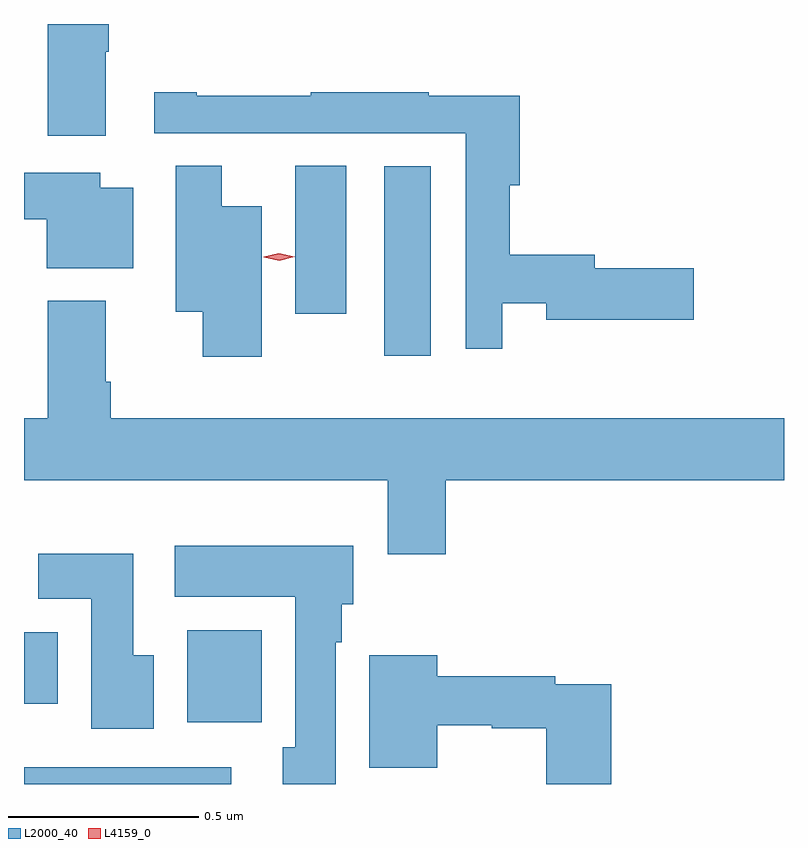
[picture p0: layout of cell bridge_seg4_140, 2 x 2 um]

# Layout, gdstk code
import gdstk
lib = gdstk.Library(unit=1e-6, precision=1e-09)
def R(c, l, rs):  # rectangles x0, y0, x1, y1
    for r in rs: c.add(gdstk.rectangle(r[:2], r[2:], *l))
def P(c, l, *ps):  # polygons
    for p in ps: c.add(gdstk.Polygon(p, *l))
L2000_40 = (2000, 40)
L4159_0 = (4159, 0)

bridge_seg4_140 = lib.new_cell('bridge_seg4_140')
R(bridge_seg4_140, L2000_40, [(126.452,773.377,126.997,773.421), (126.881,773.54,127.078,773.782), (126.452,773.588,126.541,773.776), (127.4,774.504,127.522,775.003), (127.166,774.615,127.3,775.004)])
P(bridge_seg4_140, L2000_40, [(126.667,775.304),(126.675,775.304),(126.675,775.377),(126.515,775.377),(126.515,775.083),(126.667,775.083)],
  [(127.71,774.642),(127.826,774.642),(127.826,774.599),(128.215,774.599),(128.215,774.734),(127.954,774.734),(127.954,774.77),(127.73,774.77),(127.73,774.953),(127.757,774.953),(127.757,775.188),(127.517,775.188),(127.517,775.198),(127.207,775.198),(127.207,775.188),(126.907,775.188),(126.907,775.198),(126.795,775.198),(126.795,775.089),(127.614,775.089),(127.614,774.522),(127.71,774.522)],
  [(127.078,774.898),(126.973,774.898),(126.973,775.004),(126.851,775.004),(126.851,774.62),(126.923,774.62),(126.923,774.501),(127.078,774.501)],
  [(126.739,774.946),(126.652,774.946),(126.652,774.985),(126.452,774.985),(126.452,774.863),(126.512,774.863),(126.512,774.734),(126.739,774.734)],
  [(127.562,774.176),(128.452,774.176),(128.452,774.34),(126.68,774.34),(126.68,774.436),(126.667,774.436),(126.667,774.649),(126.515,774.649),(126.515,774.34),(126.452,774.34),(126.452,774.176),(127.409,774.176),(127.409,773.982),(127.562,773.982)],
  [(127.273,773.75),(127.288,773.75),(127.288,773.85),(127.318,773.85),(127.318,774.004),(126.849,774.004),(126.849,773.87),(127.166,773.87),(127.166,773.474),(127.133,773.474),(127.133,773.377),(127.273,773.377)],
  [(126.793,773.716),(126.739,773.716),(126.739,773.983),(126.49,773.983),(126.49,773.864),(126.629,773.864),(126.629,773.523),(126.793,773.523)],
  [(127.997,773.64),(127.85,773.64),(127.85,773.66),(127.54,773.66),(127.54,773.716),(127.361,773.716),(127.361,773.42),(127.54,773.42),(127.54,773.532),(127.683,773.532),(127.683,773.524),(127.826,773.524),(127.826,773.377),(127.997,773.377)])
P(bridge_seg4_140, L4159_0, [(127.124,774.754),(127.083,774.763),(127.083,774.764),(127.083,774.764),(127.123,774.774),(127.164,774.765),(127.164,774.765),(127.164,774.765)])

lib.write_gds('bridge_seg4_140.gds')
